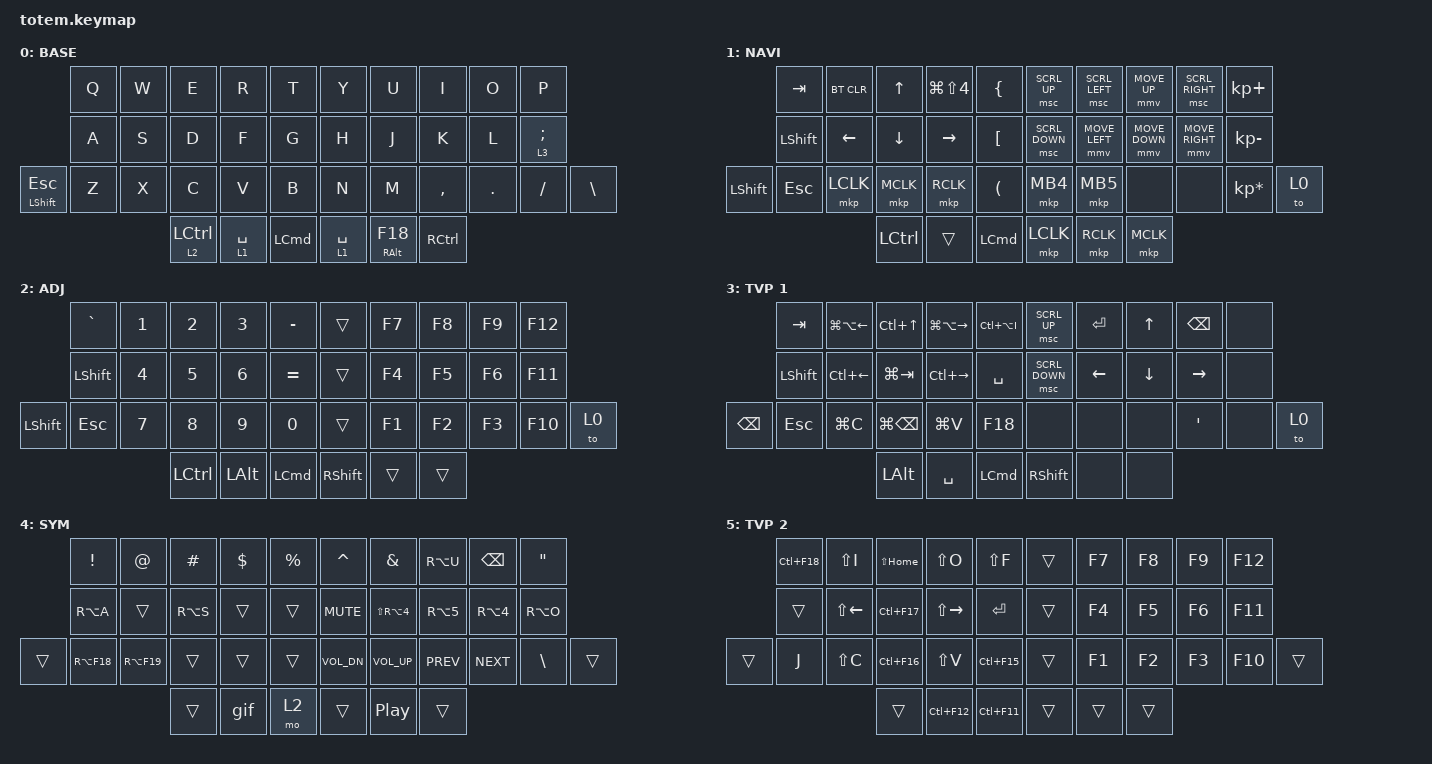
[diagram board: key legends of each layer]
//
//                                                        ▀▀▀▀▀     ▀▀▀▀▀          ▀▀█▀▀
//                                                        ▄▀▀▀▄  ▄  ▄▀▀▀▄  ▄  ▄▀▀▀▄  █  ▄▀▀▀▄
//                                                        █   █  █  █   █  █  █   █  █  █   █
//                                                         ▀▀▀   █   ▀▀▀   █   ▀▀▀   ▀   ▀▀▀
//                                                               █      ▄▄▄█▄▄▄    █   █  
//                                                               ▀      █  █  █     █▄█
//                                                             ▀▀▀▀▀    █  █  █      ▀
//                                                                      ▀  ▀  ▀
//
// ▄▄▄▄▄▄▄▄▄▄▄▄▄▄▄▄▄▄▄▄▄▄▄▄▄▄▄▄▄▄▄▄▄▄▄▄▄▄▄▄▄▄▄▄▄▄▄▄▄▄▄▄▄▄▄▄▄▄▄▄▄▄▄▄▄▄▄▄▄▄▄▄▄▄▄▄▄▄▄▄▄▄▄▄▄▄▄▄▄▄▄▄▄▄▄▄▄▄▄▄▄▄▄▄▄▄▄▄▄▄▄▄▄▄▄▄▄▄▄▄▄▄▄▄▄▄▄▄▄▄▄▄▄▄▄▄▄▄▄▄▄▄▄▄▄▄▄▄▄

#include <behaviors.dtsi>
#include <dt-bindings/zmk/bt.h>
#include <dt-bindings/zmk/keys.h>
#include <dt-bindings/zmk/pointing.h>

#define ZMK_POINTING_DEFAULT_MOVE_VAL 1000  // 기본 600 → 1500으로 조정
#define ZMK_POINTING_DEFAULT_SCRL_VAL  20    // 기본 10  → 20으로 조정
#define BASE 0
#define NAV  1
#define SYM  2
#define ADJ  3
#define TVP1 4
#define TVP2 5

&mt {
    quick-tap-ms = <100>;
    global-quick-tap;
    flavor = "tap-preferred";
    tapping-term-ms = <170>;
};

/ {
    combos {
        compatible = "zmk,combos";

        combo_esc {
            timeout-ms = <50>;
            key-positions = <0 1>;
            bindings = <&kp ESC>;
        };

        combo_tvp {
            timeout-ms = <100>;
            key-positions = <11 12 13>;
            bindings = <&tog 3>;
        };
    };

    macros {
        gif: gif {
            label = "giphy";
            compatible = "zmk,behavior-macro";
            #binding-cells = <0>;
            bindings =
                <&macro_press>,
                <&kp LSHFT>,
                <&macro_tap>,
                <&kp N2>,
                <&macro_release>,
                <&kp LSHFT>,
                <&macro_tap>,
                <&kp G &kp I &kp F>;
        };
    };

    keymap {
        compatible = "zmk,keymap";

        // ▄▄▄▄▄▄▄▄▄▄▄▄▄▄▄▄▄▄▄▄▄▄▄▄▄▄▄▄▄▄▄▄▄▄▄▄▄▄▄▄▄▄▄▄▄▄▄▄▄▄▄▄▄▄▄▄▄▄▄▄▄▄▄▄▄▄▄▄▄▄▄▄▄▄▄▄▄▄▄▄▄▄▄▄▄▄▄▄▄▄▄▄▄▄▄▄▄▄▄▄▄▄▄▄▄▄▄▄▄▄▄▄▄▄▄▄▄▄▄▄▄▄▄▄▄▄▄▄▄▄▄▄▄▄▄▄▄▄▄▄▄▄▄▄▄▄▄▄▄

        base_layer {
            // ┏━━━━━━━━━━━━━━━━━━━━━━━━━━━━━━━━━━━━━━━┓

            label = "BASE";

            // ┗━━━━━━━━━━━━━━━━━━━━━━━━━━━━━━━━━━━━━━━┛
            //             ┏━━━━━━━━━━━┳━━━━━━━━━━━┳━━━━━━━━━━━┳━━━━━━━━━━━┳━━━━━━━━━━━┓   ┏━━━━━━━━━━━┳━━━━━━━━━━━┳━━━━━━━━━━━┳━━━━━━━━━━━┳━━━━━━━━━━━┓
            //             ┃     Q     ┃     W     ┃     F     ┃     P     ┃     G     ┃   ┃     J     ┃     L     ┃     U     ┃     Y     ┃     ;     ┃
            //             ┣━━━━━━━━━━━╋━━━━━━━━━━━╋━━━━━━━━━━━╋━━━━━━━━━━━╋━━━━━━━━━━━┫   ┣━━━━━━━━━━━╋━━━━━━━━━━━╋━━━━━━━━━━━╋━━━━━━━━━━━╋━━━━━━━━━━━┫
            //             ┃     A     ┃     R     ┃     S     ┃     T     ┃     D     ┃   ┃     H     ┃     N     ┃     E     ┃     I     ┃     O     ┃
            // ┏━━━━━━━━━━━╋━━━━━━━━━━━╋━━━━━━━━━━━╋━━━━━━━━━━━╋━━━━━━━━━━━╋━━━━━━━━━━━┫   ┣━━━━━━━━━━━╋━━━━━━━━━━━╋━━━━━━━━━━━╋━━━━━━━━━━━╋━━━━━━━━━━━╋━━━━━━━━━━━┓
            // ┃     Q     ┃     Z     ┃     X     ┃     C     ┃     V     ┃     B     ┃   ┃     K     ┃     M     ┃     ,     ┃     .     ┃     /     ┃     \     ┃
            // ┗━━━━━━━━━━━┻━━━━━━━━━━━┻━━━━━━━━━━━╋━━━━━━━━━━━╋━━━━━━━━━━━╋━━━━━━━━━━━┫   ┣━━━━━━━━━━━╋━━━━━━━━━━━╋━━━━━━━━━━━╋━━━━━━━━━━━┻━━━━━━━━━━━┻━━━━━━━━━━━┛
            //                                     ┃    DEL    ┃    TAB    ┃    SPC    ┃   ┃   ENTER   ┃           ┃   BSPC    ┃
            //                                     ┗━━━━━━━━━━━┻━━━━━━━━━━━┻━━━━━━━━━━━┛   ┗━━━━━━━━━━━┻━━━━━━━━━━━┻━━━━━━━━━━━┛

            bindings = <
                       &kp Q  &kp W  &kp E        &kp R        &kp T               &kp Y        &kp U              &kp I      &kp O    &kp P
                       &kp A  &kp S  &kp D        &kp F        &kp G               &kp H        &kp J              &kp K      &kp L    &lt 3 SEMICOLON
&mt LEFT_SHIFT ESCAPE  &kp Z  &kp X  &kp C        &kp V        &kp B               &kp N        &kp M              &kp COMMA  &kp DOT  &kp FSLH         &kp BSLH
                                     &lt 2 LCTRL  &lt 1 SPACE  &kp LEFT_COMMAND    &lt 1 SPACE  &mt RIGHT_ALT F18  &kp RCTRL
            >;
        };

        nav_layer {
            // ┏━━━━━━━━━━━━━━━━━━━━━━━━━━━━━━━━━━━━━━━┓

            label = "NAVI";

            // ┗━━━━━━━━━━━━━━━━━━━━━━━━━━━━━━━━━━━━━━━┛
            //             ┏━━━━━━━━━━━┳━━━━━━━━━━━┳━━━━━━━━━━━┳━━━━━━━━━━━┳━━━━━━━━━━━┓   ┏━━━━━━━━━━━┳━━━━━━━━━━━┳━━━━━━━━━━━┳━━━━━━━━━━━┳━━━━━━━━━━━┓
            //             ┃           ┃           ┃     UP    ┃           ┃     {     ┃   ┃     }     ┃     7     ┃     8     ┃     9     ┃     +     ┃
            //             ┣━━━━━━━━━━━╋━━━━━━━━━━━╋━━━━━━━━━━━╋━━━━━━━━━━━╋━━━━━━━━━━━┫   ┣━━━━━━━━━━━╋━━━━━━━━━━━╋━━━━━━━━━━━╋━━━━━━━━━━━╋━━━━━━━━━━━┫
            //             ┃   SHIFT   ┃   LEFT    ┃    DOWN   ┃   RIGHT   ┃     [     ┃   ┃     ]     ┃     4     ┃     5     ┃     6     ┃     -     ┃
            // ┏━━━━━━━━━━━╋━━━━━━━━━━━╋━━━━━━━━━━━╋━━━━━━━━━━━╋━━━━━━━━━━━╋━━━━━━━━━━━┫   ┣━━━━━━━━━━━╋━━━━━━━━━━━╋━━━━━━━━━━━╋━━━━━━━━━━━╋━━━━━━━━━━━╋━━━━━━━━━━━┓
            // ┃           ┃           ┃   P UP    ┃  C LOCK   ┃  P DOWN   ┃     (     ┃   ┃     )     ┃     1     ┃     2     ┃     3     ┃     *     ┃           ┃
            // ┗━━━━━━━━━━━┻━━━━━━━━━━━┻━━━━━━━━━━━╋━━━━━━━━━━━╋━━━━━━━━━━━╋━━━━━━━━━━━┫   ┣━━━━━━━━━━━╋━━━━━━━━━━━╋━━━━━━━━━━━╋━━━━━━━━━━━┻━━━━━━━━━━━┻━━━━━━━━━━━┛
            //                                     ┃           ┃    TAB    ┃    SPC    ┃   ┃    DEL    ┃     0     ┃           ┃
            //                                     ┗━━━━━━━━━━━┻━━━━━━━━━━━┻━━━━━━━━━━━┛   ┗━━━━━━━━━━━┻━━━━━━━━━━━┻━━━━━━━━━━━┛

            bindings = <
                &kp TAB         &bt BT_CLR  &kp UP     &kp LG(LS(NUMBER_4))  &kp LBRC            &msc SCRL_UP    &msc SCRL_LEFT  &mmv MOVE_UP    &msc SCRL_RIGHT  &kp KP_PLUS
                &kp LEFT_SHIFT  &kp LEFT    &kp DOWN   &kp RIGHT             &kp LBKT            &msc SCRL_DOWN  &mmv MOVE_LEFT  &mmv MOVE_DOWN  &mmv MOVE_RIGHT  &kp KP_MINUS
&kp LEFT_SHIFT  &kp ESCAPE      &mkp LCLK   &mkp MCLK  &mkp RCLK             &kp LPAR            &mkp MB4        &mkp MB5        &none           &none            &kp KP_MULTIPLY  &to 0
                                            &kp LCTRL  &trans                &kp LEFT_COMMAND    &mkp LCLK       &mkp RCLK       &mkp MCLK
            >;
        };

        num_layer {
            // ┏━━━━━━━━━━━━━━━━━━━━━━━━━━━━━━━━━━━━━━━┓

            label = "ADJ";

            // ┗━━━━━━━━━━━━━━━━━━━━━━━━━━━━━━━━━━━━━━━┛
            //             ┏━━━━━━━━━━━┳━━━━━━━━━━━┳━━━━━━━━━━━┳━━━━━━━━━━━┳━━━━━━━━━━━┓   ┏━━━━━━━━━━━┳━━━━━━━━━━━┳━━━━━━━━━━━┳━━━━━━━━━━━┳━━━━━━━━━━━┓
            //             ┃   RESET   ┃ BT CLEAR  ┃  OUT TOG  ┃           ┃           ┃   ┃           ┃    F7     ┃    F8     ┃    F9     ┃    F12    ┃
            //             ┣━━━━━━━━━━━╋━━━━━━━━━━━╋━━━━━━━━━━━╋━━━━━━━━━━━╋━━━━━━━━━━━┫   ┣━━━━━━━━━━━╋━━━━━━━━━━━╋━━━━━━━━━━━╋━━━━━━━━━━━╋━━━━━━━━━━━┫
            //             ┃ BOOTLOAD  ┃ BT NEXT   ┃           ┃           ┃           ┃   ┃           ┃    F4     ┃    F5     ┃    F6     ┃    F11    ┃
            // ┏━━━━━━━━━━━╋━━━━━━━━━━━╋━━━━━━━━━━━╋━━━━━━━━━━━╋━━━━━━━━━━━╋━━━━━━━━━━━┫   ┣━━━━━━━━━━━╋━━━━━━━━━━━╋━━━━━━━━━━━╋━━━━━━━━━━━╋━━━━━━━━━━━╋━━━━━━━━━━━┓
            // ┃           ┃           ┃ BT PREV   ┃           ┃           ┃           ┃   ┃           ┃    F1     ┃    F2     ┃    F3     ┃    F10    ┃           ┃
            // ┗━━━━━━━━━━━┻━━━━━━━━━━━┻━━━━━━━━━━━╋━━━━━━━━━━━╋━━━━━━━━━━━╋━━━━━━━━━━━┫   ┣━━━━━━━━━━━╋━━━━━━━━━━━╋━━━━━━━━━━━╋━━━━━━━━━━━┻━━━━━━━━━━━┻━━━━━━━━━━━┛
            //                                     ┃           ┃           ┃           ┃   ┃           ┃           ┃           ┃
            //                                     ┗━━━━━━━━━━━┻━━━━━━━━━━━┻━━━━━━━━━━━┛   ┗━━━━━━━━━━━┻━━━━━━━━━━━┻━━━━━━━━━━━┛

            bindings = <
                &kp GRAVE       &kp N1        &kp NUMBER_2  &kp NUMBER_3  &kp MINUS           &trans           &kp F7  &kp F8  &kp F9  &kp F12
                &kp LEFT_SHIFT  &kp NUMBER_4  &kp N5        &kp NUMBER_6  &kp EQUAL           &trans           &kp F4  &kp F5  &kp F6  &kp F11
&kp LEFT_SHIFT  &kp ESCAPE      &kp NUMBER_7  &kp NUMBER_8  &kp NUMBER_9  &kp NUMBER_0        &trans           &kp F1  &kp F2  &kp F3  &kp F10  &to 0
                                              &kp LCTRL     &kp LEFT_ALT  &kp LEFT_COMMAND    &kp RIGHT_SHIFT  &trans  &trans
            >;
        };

        mod_layer {
            // ┏━━━━━━━━━━━━━━━━━━━━━━━━━━━━━━━━━━━━━━━┓

            label = "TVP 1";

            // ┗━━━━━━━━━━━━━━━━━━━━━━━━━━━━━━━━━━━━━━━┛
            //             ┏━━━━━━━━━━━┳━━━━━━━━━━━┳━━━━━━━━━━━┳━━━━━━━━━━━┳━━━━━━━━━━━┓   ┏━━━━━━━━━━━┳━━━━━━━━━━━┳━━━━━━━━━━━┳━━━━━━━━━━━┳━━━━━━━━━━━┓
            //             ┃ NEXT FILE ┃ MARK IN   ┃ ROTATE    ┃ MARK OUT  ┃ SHOW SNAP ┃   ┃           ┃           ┃           ┃           ┃           ┃
            //             ┣━━━━━━━━━━━╋━━━━━━━━━━━╋━━━━━━━━━━━╋━━━━━━━━━━━╋━━━━━━━━━━━┫   ┣━━━━━━━━━━━╋━━━━━━━━━━━╋━━━━━━━━━━━╋━━━━━━━━━━━╋━━━━━━━━━━━┫
            //             ┃ TVP II    ┃ LEFT      ┃ PAN       ┃ RIGHT     ┃ PLAY/FLIP ┃   ┃           ┃           ┃           ┃           ┃           ┃
            // ┏━━━━━━━━━━━╋━━━━━━━━━━━╋━━━━━━━━━━━╋━━━━━━━━━━━╋━━━━━━━━━━━╋━━━━━━━━━━━┫   ┣━━━━━━━━━━━╋━━━━━━━━━━━╋━━━━━━━━━━━╋━━━━━━━━━━━╋━━━━━━━━━━━╋━━━━━━━━━━━┓
            // ┃ FULLSCR   ┃ SHIFT     ┃ COPY      ┃ DELETE    ┃ PASTE     ┃ IMG MARK  ┃   ┃           ┃           ┃           ┃           ┃           ┃           ┃
            // ┗━━━━━━━━━━━┻━━━━━━━━━━━┻━━━━━━━━━━━╋━━━━━━━━━━━╋━━━━━━━━━━━╋━━━━━━━━━━━┫   ┣━━━━━━━━━━━╋━━━━━━━━━━━╋━━━━━━━━━━━╋━━━━━━━━━━━┻━━━━━━━━━━━┻━━━━━━━━━━━┛
            //                                     ┃           ┃ UNDO/SAVE ┃  SEL/MOV  ┃   ┃           ┃           ┃           ┃
            //                                     ┗━━━━━━━━━━━┻━━━━━━━━━━━┻━━━━━━━━━━━┛   ┗━━━━━━━━━━━┻━━━━━━━━━━━┻━━━━━━━━━━━┛

            bindings = <
               &kp TAB         &kp LG(LA(LEFT))  &kp LC(UP_ARROW)  &kp LG(LA(RIGHT))  &kp LC(LA(I))       &msc SCRL_UP     &kp ENTER  &kp UP_ARROW  &kp BACKSPACE     &none
               &kp LEFT_SHIFT  &kp LC(LEFT)      &kp LG(TAB)       &kp LC(RIGHT)      &kp SPACE           &msc SCRL_DOWN   &kp LEFT   &kp DOWN      &kp RIGHT         &none
&kp BACKSPACE  &kp ESC         &kp LG(C)         &kp LG(BSPC)      &kp LG(V)          &kp F18             &none            &none      &none         &kp SINGLE_QUOTE  &none  &to 0
                                                 &kp LEFT_ALT      &kp SPACE          &kp LEFT_COMMAND    &kp RIGHT_SHIFT  &none      &none
            >;
        };

        sim_layer {
            // ┏━━━━━━━━━━━━━━━━━━━━━━━━━━━━━━━━━━━━━━━┓

            label = "SYM";

            // ┗━━━━━━━━━━━━━━━━━━━━━━━━━━━━━━━━━━━━━━━┛
            //             ┏━━━━━━━━━━━┳━━━━━━━━━━━┳━━━━━━━━━━━┳━━━━━━━━━━━┳━━━━━━━━━━━┓   ┏━━━━━━━━━━━┳━━━━━━━━━━━┳━━━━━━━━━━━┳━━━━━━━━━━━┳━━━━━━━━━━━┓
            //             ┃     !     ┃     @     ┃     #     ┃     $     ┃     %     ┃   ┃     ˆ     ┃     &     ┃     Ü     ┃     '     ┃     "     ┃
            //             ┣━━━━━━━━━━━╋━━━━━━━━━━━╋━━━━━━━━━━━╋━━━━━━━━━━━╋━━━━━━━━━━━┫   ┣━━━━━━━━━━━╋━━━━━━━━━━━╋━━━━━━━━━━━╋━━━━━━━━━━━╋━━━━━━━━━━━┫
            //             ┃     Ä     ┃           ┃    SZ     ┃           ┃           ┃   ┃   MUTE    ┃   YEN     ┃   EURO    ┃  POUND    ┃     Ö     ┃
            // ┏━━━━━━━━━━━╋━━━━━━━━━━━╋━━━━━━━━━━━╋━━━━━━━━━━━╋━━━━━━━━━━━╋━━━━━━━━━━━┫   ┣━━━━━━━━━━━╋━━━━━━━━━━━╋━━━━━━━━━━━╋━━━━━━━━━━━╋━━━━━━━━━━━╋━━━━━━━━━━━┓
            // ┃           ┃  EMAIL1   ┃  EMAIL2   ┃           ┃           ┃           ┃   ┃   VOL-    ┃   VOL+    ┃   LAST    ┃   NEXT    ┃     \     ┃           ┃
            // ┗━━━━━━━━━━━┻━━━━━━━━━━━┻━━━━━━━━━━━╋━━━━━━━━━━━╋━━━━━━━━━━━╋━━━━━━━━━━━┫   ┣━━━━━━━━━━━╋━━━━━━━━━━━╋━━━━━━━━━━━╋━━━━━━━━━━━┻━━━━━━━━━━━┻━━━━━━━━━━━┛
            //                                     ┃           ┃    GIF    ┃    ADJ    ┃   ┃           ┃           ┃           ┃
            //                                     ┗━━━━━━━━━━━┻━━━━━━━━━━━┻━━━━━━━━━━━┛   ┗━━━━━━━━━━━┻━━━━━━━━━━━┻━━━━━━━━━━━┛

            bindings = <
        &kp EXCL     &kp AT       &kp HASH   &kp DLLR  &kp PRCNT    &kp CARET     &kp AMPS        &kp RA(U)   &kp BACKSPACE  &kp DQT
        &kp RA(A)    &trans       &kp RA(S)  &trans    &trans       &kp C_MUTE    &kp LS(RA(N4))  &kp RA(N5)  &kp RA(N4)     &kp RA(O)
&trans  &kp RA(F18)  &kp RA(F19)  &trans     &trans    &trans       &kp C_VOL_DN  &kp C_VOL_UP    &kp C_PREV  &kp C_NEXT     &kp BSLH   &trans
                                  &trans     &gif      &mo 2        &trans        &kp C_PP        &trans
            >;
        };

        tvp2_layer {
            // ┏━━━━━━━━━━━━━━━━━━━━━━━━━━━━━━━━━━━━━━━┓

            label = "TVP 2";

            // ┗━━━━━━━━━━━━━━━━━━━━━━━━━━━━━━━━━━━━━━━┛
            //             ┏━━━━━━━━━━━┳━━━━━━━━━━━┳━━━━━━━━━━━┳━━━━━━━━━━━┳━━━━━━━━━━━┓   ┏━━━━━━━━━━━┳━━━━━━━━━━━┳━━━━━━━━━━━┳━━━━━━━━━━━┳━━━━━━━━━━━┓
            //             ┃ SOLO      ┃ TOGGLE IN ┃ RESET ROT ┃ TOGGLE OUT┃ TAKE SNAP ┃   ┃           ┃           ┃           ┃           ┃           ┃
            //             ┣━━━━━━━━━━━╋━━━━━━━━━━━╋━━━━━━━━━━━╋━━━━━━━━━━━╋━━━━━━━━━━━┫   ┣━━━━━━━━━━━╋━━━━━━━━━━━╋━━━━━━━━━━━╋━━━━━━━━━━━╋━━━━━━━━━━━┫
            //             ┃ ---       ┃ LAST KEY  ┃ NEW KEY   ┃ NEXT KEY  ┃ ENTER     ┃   ┃           ┃           ┃           ┃           ┃           ┃
            // ┏━━━━━━━━━━━╋━━━━━━━━━━━╋━━━━━━━━━━━╋━━━━━━━━━━━╋━━━━━━━━━━━╋━━━━━━━━━━━┫   ┣━━━━━━━━━━━╋━━━━━━━━━━━╋━━━━━━━━━━━╋━━━━━━━━━━━╋━━━━━━━━━━━╋━━━━━━━━━━━┓
            // ┃           ┃ FULLSCR   ┃ CPY2BRUSH ┃ DEL HEAD  ┃ PSTinPLACE┃ BOOK MARK ┃   ┃           ┃           ┃           ┃           ┃           ┃           ┃
            // ┗━━━━━━━━━━━┻━━━━━━━━━━━┻━━━━━━━━━━━╋━━━━━━━━━━━╋━━━━━━━━━━━╋━━━━━━━━━━━┫   ┣━━━━━━━━━━━╋━━━━━━━━━━━╋━━━━━━━━━━━╋━━━━━━━━━━━┻━━━━━━━━━━━┻━━━━━━━━━━━┛
            //                                     ┃           ┃ REDO/SAV1 ┃TRANS/WARP ┃   ┃           ┃           ┃           ┃
            //                                     ┗━━━━━━━━━━━┻━━━━━━━━━━━┻━━━━━━━━━━━┛   ┗━━━━━━━━━━━┻━━━━━━━━━━━┻━━━━━━━━━━━┛

            bindings = <
        &kp LC(F18)  &kp LS(I)     &kp LS(HOME)  &kp LS(O)      &kp LS(F)      &trans  &kp F7  &kp F8  &kp F9  &kp F12
        &trans       &kp LS(LEFT)  &kp LC(F17)   &kp LS(RIGHT)  &kp RET        &trans  &kp F4  &kp F5  &kp F6  &kp F11
&trans  &kp J        &kp LS(C)     &kp LC(F16)   &kp LS(V)      &kp LC(F15)    &trans  &kp F1  &kp F2  &kp F3  &kp F10  &trans
                                   &trans        &kp LC(F12)    &kp LC(F11)    &trans  &trans  &trans
            >;
        };
    };
};
